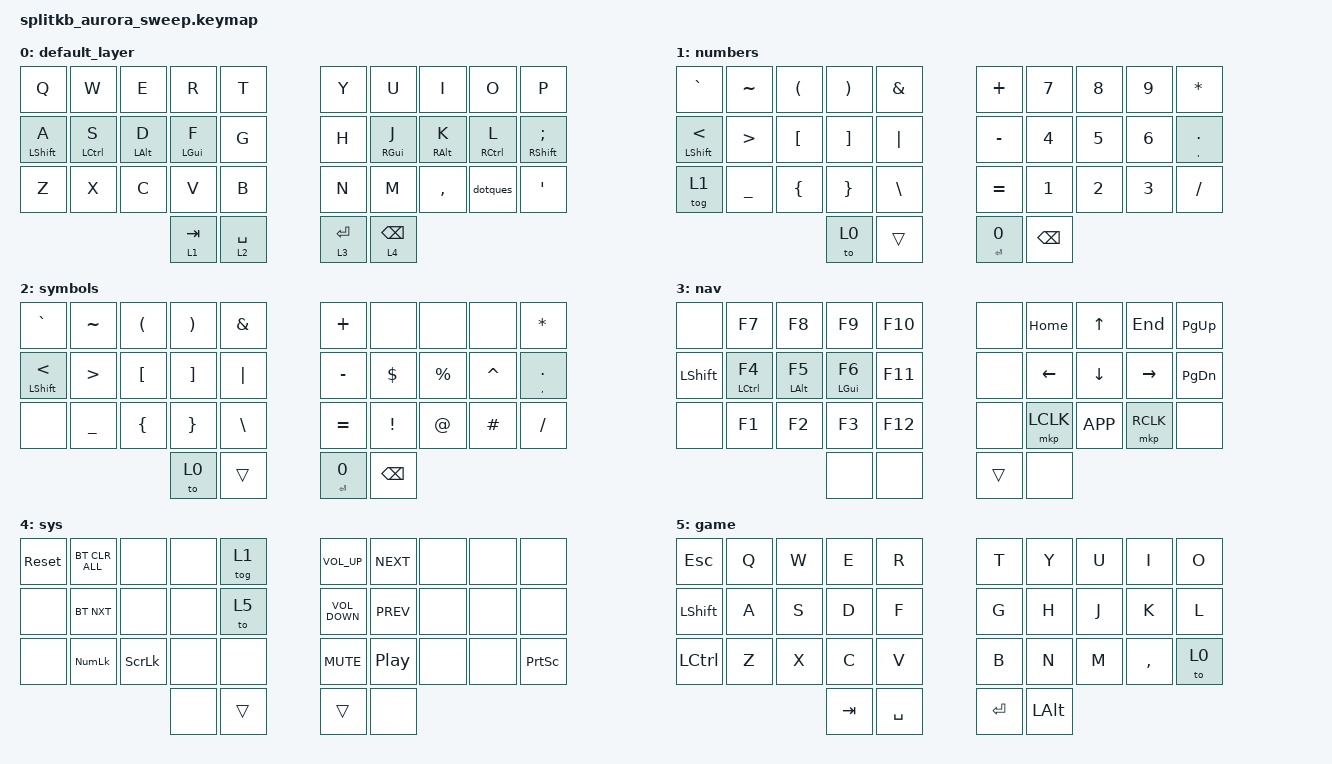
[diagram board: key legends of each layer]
#include <dt-bindings/zmk/mouse.h>
#include <behaviors.dtsi>
#include <dt-bindings/zmk/bt.h>
#include <dt-bindings/zmk/keys.h>
#include <dt-bindings/zmk/pointing.h>

&mt {
    flavor = "balanced";
    quick-tap-ms = <190>;//for double tap backspace to repeat
    tapping-term-ms = <280>;
    require-prior-idle-ms = <120>;//higher value makes hold harder to trigger, cause it forces a tap instead if within this time. if correct with backspace, we may want a shift/mod so we set this to lowish
};

/ {
    combos {
        compatible = "zmk,combos";

        caps_word {
            bindings = <&caps_word>;
            key-positions = <6 7>;
            layers = <0>;
        };

        esc {
            bindings = <&kp ESCAPE>;
            key-positions = <16 17>;
            layers = <0>;
        };

        del {
            bindings = <&kp DEL>;
            key-positions = <26 27>;
            layers = <0>;
        };

        cmd_v {
            bindings = <&kp LG(V)>;
            key-positions = <13 23>;
            layers = <0>;
        };

        esc2 {
            bindings = <&kp ESC>;
            key-positions = <0 1>;
            layers = <0>;
        };
    };

    macros {
        dot_shift: dot_shift {
            compatible = "zmk,behavior-macro";
            #binding-cells = <0>;
            bindings = <&kp DOT &kp SPACE &sk LEFT_SHIFT>;
            label = "DOT_SHIFT";
        };
    };

    behaviors {
        no_idle: no_idle {
            compatible = "zmk,behavior-hold-tap";
            label = "NO_IDLE";
            bindings = <&kp>, <&kp>;

            #binding-cells = <2>;
            tapping-term-ms = <200>;
            quick-tap-ms = <150>;
            require-prior-idle-ms = <(-1)>;
            flavor = "balanced";
        };

        dotques: dotques {
            compatible = "zmk,behavior-mod-morph";
            label = "DOTQUES";
            bindings = <&kp PERIOD>, <&kp QUESTION>;

            #binding-cells = <0>;
            mods = <(MOD_LSFT)>;
        };
    };

    keymap {
        compatible = "zmk,keymap";

        default_layer {
            bindings = <
&kp Q                  &kp W        &kp E       &kp R           &kp T    &kp Y  &kp U            &kp I            &kp O        &kp P
&no_idle LEFT_SHIFT A  &mt LCTRL S  &mt LALT D  &mt LEFT_GUI F  &kp G    &kp H  &mt RIGHT_GUI J  &mt RIGHT_ALT K  &mt RCTRL L  &mt RIGHT_SHIFT SEMI
&kp Z                  &kp X        &kp C       &kp V           &kp B    &kp N  &kp M            &kp COMMA        &dotques     &kp SINGLE_QUOTE
&lt 1 TAB              &lt 2 SPACE                                                                                &lt 3 ENTER  &lt 4 BACKSPACE
            >;
        };

        numbers {
            bindings = <
&kp GRAVE            &kp TILDE         &kp LEFT_PARENTHESIS  &kp RIGHT_PARENTHESIS  &kp AMPS         &kp PLUS   &kp N7  &kp N8  &kp N9        &kp ASTERISK
&mt LSHFT LESS_THAN  &kp GREATER_THAN  &kp LEFT_BRACKET      &kp RIGHT_BRACKET      &kp PIPE         &kp MINUS  &kp N4  &kp N5  &kp N6        &mt COMMA PERIOD
&tog 1               &kp UNDERSCORE    &kp LEFT_BRACE        &kp RIGHT_BRACE        &kp BACKSLASH    &kp EQUAL  &kp N1  &kp N2  &kp N3        &kp SLASH
&to 0                &trans                                                                                                     &mt ENTER N0  &kp BACKSPACE
            >;
        };

        symbols {
            bindings = <
&kp GRAVE            &kp TILDE         &kp LEFT_PARENTHESIS  &kp RIGHT_PARENTHESIS  &kp AMPS         &kp PLUS   &none       &none        &none         &kp ASTERISK
&mt LSHFT LESS_THAN  &kp GREATER_THAN  &kp LEFT_BRACKET      &kp RIGHT_BRACKET      &kp PIPE         &kp MINUS  &kp DOLLAR  &kp PERCENT  &kp CARET     &mt COMMA PERIOD
&none                &kp UNDERSCORE    &kp LEFT_BRACE        &kp RIGHT_BRACE        &kp BACKSLASH    &kp EQUAL  &kp EXCL    &kp AT       &kp HASH      &kp SLASH
&to 0                &trans                                                                                                              &mt ENTER N0  &kp BACKSPACE
            >;
        };

        nav {
            bindings = <
&none           &kp F7               &kp F8           &kp F9           &kp F10    &none  &kp HOME   &kp UP     &kp END    &kp PAGE_UP
&kp LEFT_SHIFT  &mt LEFT_CONTROL F4  &mt LEFT_ALT F5  &mt LEFT_GUI F6  &kp F11    &none  &kp LEFT   &kp DOWN   &kp RIGHT  &kp PAGE_DOWN
&none           &kp F1               &kp F2           &kp F3           &kp F12    &none  &mkp LCLK  &kp K_APP  &mkp RCLK  &none
&none           &none                                                                                          &trans     &none
            >;
        };

        sys {
            bindings = <
&sys_reset  &bt BT_CLR_ALL  &none           &none  &tog 1    &kp C_VOLUME_UP    &kp C_NEXT        &none  &none   &none
&none       &bt BT_NXT      &none           &none  &to 5     &kp C_VOLUME_DOWN  &kp C_PREV        &none  &none   &none
&none       &kp KP_NUMLOCK  &kp SCROLLLOCK  &none  &none     &kp C_MUTE         &kp C_PLAY_PAUSE  &none  &none   &kp PRINTSCREEN
&none       &trans                                                                                       &trans  &none
            >;
        };

        game {
            bindings = <
&kp ESC    &kp Q      &kp W  &kp E  &kp R    &kp T  &kp Y  &kp U  &kp I      &kp O
&kp LSHFT  &kp A      &kp S  &kp D  &kp F    &kp G  &kp H  &kp J  &kp K      &kp L
&kp LCTRL  &kp Z      &kp X  &kp C  &kp V    &kp B  &kp N  &kp M  &kp COMMA  &to 0
&kp TAB    &kp SPACE                                              &kp ENTER  &kp LALT
            >;
        };
    };
};
